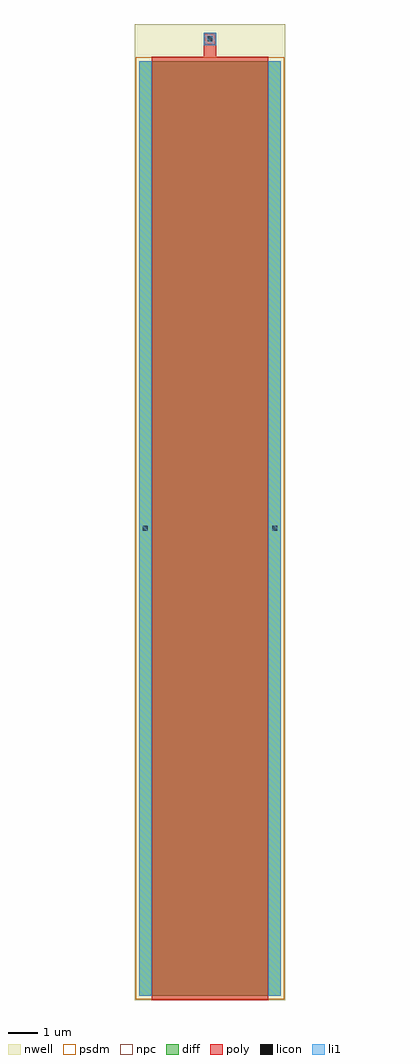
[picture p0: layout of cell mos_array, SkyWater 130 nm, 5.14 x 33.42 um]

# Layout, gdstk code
import gdstk
lib = gdstk.Library(unit=1e-6, precision=1e-09)
def R(c, l, rs):  # rectangles x0, y0, x1, y1
    for r in rs: c.add(gdstk.rectangle(r[:2], r[2:], *l))
nwell = (64, 20)
diff = (65, 20)
poly = (66, 20)
licon = (66, 44)
li1 = (67, 20)
psdm = (94, 20)
npc = (95, 20)

mos_array = lib.new_cell('mos_array')
R(mos_array, nwell, [(-0.15,-0.15,4.99,33.27)])
R(mos_array, diff, [(0,0,4.84,32)])
R(mos_array, poly, [(0.42,-0.15,4.42,32), (0.42,32,4.42,32.15), (0.42,32,4.42,32.15), (2.21,32.15,2.63,32.97)])
R(mos_array, licon, [(0.125,15.915,0.295,16.085), (4.545,15.915,4.715,16.085), (2.335,32.675,2.505,32.845)])
R(mos_array, li1, [(0,0,0.42,32), (4.42,0,4.84,32), (2.21,32.55,2.63,32.97)])
R(mos_array, psdm, [(-0.125,-0.125,4.965,32.125)])
R(mos_array, npc, [(2.24,32.58,2.6,32.94)])

lib.write_gds('mos_array.gds')
